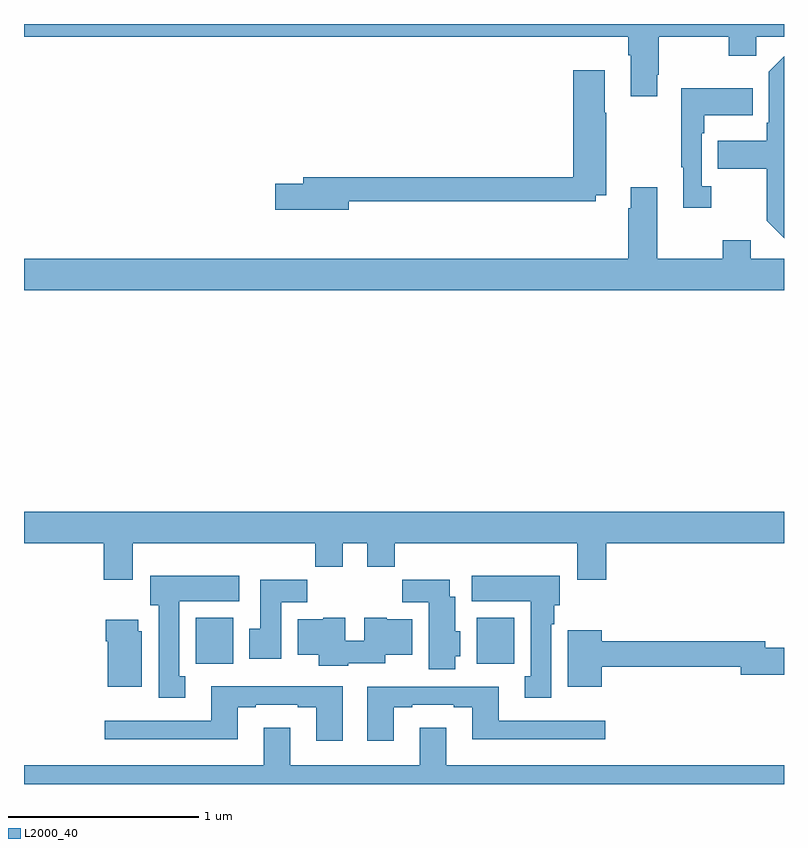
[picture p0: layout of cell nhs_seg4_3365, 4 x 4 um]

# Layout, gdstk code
import gdstk
lib = gdstk.Library(unit=1e-6, precision=1e-09)
def R(c, l, rs):  # rectangles x0, y0, x1, y1
    for r in rs: c.add(gdstk.rectangle(r[:2], r[2:], *l))
def P(c, l, *ps):  # polygons
    for p in ps: c.add(gdstk.Polygon(p, *l))
L2000_40 = (2000, 40)

nhs_seg4_3365 = lib.new_cell('nhs_seg4_3365')
R(nhs_seg4_3365, L2000_40, [(289.904,781.532,290.101,781.774), (291.383,781.532,291.58,781.774)])
P(nhs_seg4_3365, L2000_40, [(289,784.832),(292.181,784.832),(292.181,784.736),(292.193,784.736),(292.193,784.521),(292.333,784.521),(292.333,784.633),(292.341,784.633),(292.341,784.832),(292.708,784.832),(292.708,784.733),(292.854,784.733),(292.854,784.832),(293,784.832),(293,784.9),(289,784.9)],
  [(293,784.73),(292.92,784.65),(292.92,784.381),(292.908,784.381),(292.908,784.285),(292.651,784.285),(292.651,784.138),(292.908,784.138),(292.908,783.865),(293,783.772)],
  [(290.71,783.966),(292.008,783.966),(292.008,783.998),(292.065,783.998),(292.065,784.433),(292.057,784.433),(292.057,784.657),(291.89,784.657),(291.89,784.094),(290.471,784.094),(290.471,784.058),(290.322,784.058),(290.322,783.923),(290.71,783.923)],
  [(292.618,784.046),(292.566,784.046),(292.566,784.325),(292.579,784.325),(292.579,784.421),(292.835,784.421),(292.835,784.561),(292.458,784.561),(292.458,784.145),(292.469,784.145),(292.469,783.933),(292.618,783.933)],
  [(293,783.664),(292.825,783.664),(292.825,783.763),(292.678,783.763),(292.678,783.664),(292.333,783.664),(292.333,784.042),(292.193,784.042),(292.193,783.929),(292.181,783.929),(292.181,783.664),(289,783.664),(289,783.5),(293,783.5)],
  [(289.573,782.168),(290.533,782.168),(290.533,782.044),(290.677,782.044),(290.677,782.168),(290.807,782.168),(290.807,782.044),(290.951,782.044),(290.951,782.168),(291.911,782.168),(291.911,781.974),(292.064,781.974),(292.064,782.168),(293,782.168),(293,782.332),(289,782.332),(289,782.168),(289.421,782.168),(289.421,781.974),(289.573,781.974)],
  [(289.849,781.466),(289.816,781.466),(289.816,781.862),(290.134,781.862),(290.134,781.996),(289.664,781.996),(289.664,781.842),(289.709,781.842),(289.709,781.353),(289.849,781.353)],
  [(291.775,781.742),(291.79,781.742),(291.79,781.842),(291.82,781.842),(291.82,781.996),(291.356,781.996),(291.356,781.862),(291.668,781.862),(291.668,781.466),(291.635,781.466),(291.635,781.353),(291.775,781.353)],
  [(291.271,781.572),(291.295,781.572),(291.295,781.704),(291.271,781.704),(291.271,781.885),(291.241,781.885),(291.241,781.975),(290.992,781.975),(290.992,781.856),(291.131,781.856),(291.131,781.505),(291.271,781.505)],
  [(290.353,781.856),(290.492,781.856),(290.492,781.975),(290.243,781.975),(290.243,781.716),(290.186,781.716),(290.186,781.56),(290.353,781.56)],
  [(290.706,781.535),(290.902,781.535),(290.902,781.58),(291.043,781.58),(291.043,781.768),(290.91,781.768),(290.91,781.774),(290.792,781.774),(290.792,781.653),(290.692,781.653),(290.692,781.774),(290.574,781.774),(290.574,781.768),(290.441,781.768),(290.441,781.58),(290.552,781.58),(290.552,781.523),(290.706,781.523)],
  [(289.621,781.704),(289.6,781.704),(289.6,781.765),(289.43,781.765),(289.43,781.652),(289.442,781.652),(289.442,781.412),(289.621,781.412)],
  [(292.042,781.516),(292.772,781.516),(292.772,781.474),(293,781.474),(293,781.616),(292.9,781.616),(292.9,781.652),(292.042,781.652),(292.042,781.708),(291.863,781.708),(291.863,781.412),(292.042,781.412)],
  [(290.677,781.414),(289.985,781.414),(289.985,781.233),(289.425,781.233),(289.425,781.136),(290.125,781.136),(290.125,781.305),(290.221,781.305),(290.221,781.317),(290.441,781.317),(290.441,781.305),(290.537,781.305),(290.537,781.128),(290.677,781.128)],
  [(290.947,781.305),(291.043,781.305),(291.043,781.317),(291.263,781.317),(291.263,781.305),(291.359,781.305),(291.359,781.136),(292.06,781.136),(292.06,781.233),(291.499,781.233),(291.499,781.413),(290.807,781.413),(290.807,781.128),(290.947,781.128)],
  [(293,781),(291.223,781),(291.223,781.195),(291.083,781.195),(291.083,781),(290.401,781),(290.401,781.195),(290.261,781.195),(290.261,781),(289,781),(289,780.9),(293,780.9)])

lib.write_gds('nhs_seg4_3365.gds')
